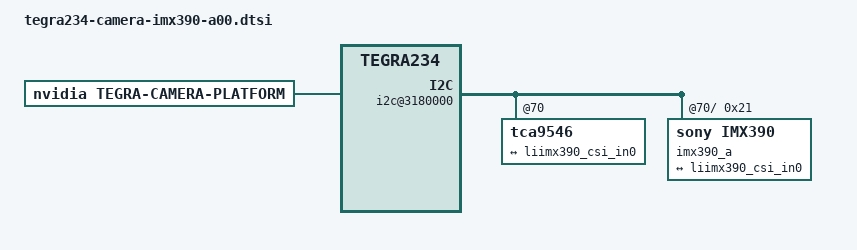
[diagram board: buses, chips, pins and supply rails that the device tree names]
// SPDX-License-Identifier: GPL-2.0-only
// SPDX-FileCopyrightText: Copyright (c) 2016-2025, NVIDIA CORPORATION & AFFILIATES. All rights reserved.

/ {
	fragment-camera@0 {
		target-path = "/";
		__overlay__ {
			tegra-capture-vi {
				num-channels = <1>;
				ports {
					#address-cells = <1>;
					#size-cells = <0>;
					port@0 {
						reg = <0>;
						liimx390_vi_in0: endpoint {
							port-index = <0>;
							bus-width = <4>;
							remote-endpoint = <&liimx390_csi_out0>;
						};
					};
				};
			};

			bus@0{
				host1x@13e00000 {
					nvcsi@15a00000 {
						num-channels = <1>;
						#address-cells = <1>;
						#size-cells = <0>;
						channel@0 {
							reg = <0>;
							ports {
								#address-cells = <1>;
								#size-cells = <0>;
								port@0 {
									reg = <0>;
									liimx390_csi_in0: endpoint@0 {
										port-index = <0>;
										bus-width = <4>;
										remote-endpoint = <&liimx390_imx390_out0>;
									};
								};
								port@1 {
									reg = <1>;
									liimx390_csi_out0: endpoint@1 {
										remote-endpoint = <&liimx390_vi_in0>;
									};
								};
							};
						};
					};
				};

				i2c@3180000 {
					tca9546@70 {
						i2c@0 {
							imx390_a@21 {
								compatible = "sony,imx390";
								reg = <0x21>;
								devnode = "video0";
								/* Physical dimensions of sensor */
								physical_w = "15.0";
								physical_h = "12.5";
								sensor_model ="imx390";
								/* Define any required hw resources needed by driver */
								/* ie. clocks, io pins, power sources */
								/* Defines number of frames to be dropped by driver internally after applying */
								/* sensor crop settings. Some sensors send corrupt frames after applying */
								/* crop co-ordinates */
								post_crop_frame_drop = "0";

								/* Convert Gain to unit of dB (decibel) befor passing to kernel driver */

								/* if true, delay gain setting by one frame to be in sync with exposure */

								/* enable CID_SENSOR_MODE_ID for sensor modes selection */
								use_sensor_mode_id = "true";

								/* WAR to prevent banding by reducing analog gain. Bug 2229902 */

								/**
								* ==== Modes ====
								* A modeX node is required to support v4l2 driver
								* implementation with NVIDIA camera software stack
								*
								* == Signal properties ==
								*
								* phy_mode = "";
								* PHY mode used by the MIPI lanes for this device
								*
								* tegra_sinterface = "";
								* CSI Serial interface connected to tegra
								* Incase of virtual HW devices, use virtual
								* For SW emulated devices, use host
								*
								* pix_clk_hz = "";
								* Sensor pixel clock used for calculations like exposure and framerate
								*
								* readout_orientation = "0";
								* Based on camera module orientation.
								* Only change readout_orientation if you specifically
								* Program a different readout order for this mode
								*
								* == Image format Properties ==
								*
								* active_w = "";
								* Pixel active region width
								*
								* active_h = "";
								* Pixel active region height
								*
								* pixel_t = "";
								* The sensor readout pixel pattern
								*
								* line_length = "";
								* Pixel line length (width) for sensor mode.
								*
								* == Source Control Settings ==
								*
								* Gain factor used to convert fixed point integer to float
								* Gain range [min_gain/gain_factor, max_gain/gain_factor]
								* Gain step [step_gain/gain_factor is the smallest step that can be configured]
								* Default gain [Default gain to be initialized for the control.
								*     use min_gain_val as default for optimal results]
								* Framerate factor used to convert fixed point integer to float
								* Framerate range [min_framerate/framerate_factor, max_framerate/framerate_factor]
								* Framerate step [step_framerate/framerate_factor is the smallest step that can be configured]
								* Default Framerate [Default framerate to be initialized for the control.
								*     use max_framerate to get required performance]
								* Exposure factor used to convert fixed point integer to float
								* For convenience use 1 sec = 1000000us as conversion factor
								* Exposure range [min_exp_time/exposure_factor, max_exp_time/exposure_factor]
								* Exposure step [step_exp_time/exposure_factor is the smallest step that can be configured]
								* Default Exposure Time [Default exposure to be initialized for the control.
								*     Set default exposure based on the default_framerate for optimal exposure settings]
								*
								* gain_factor = ""; (integer factor used for floating to fixed point conversion)
								* min_gain_val = ""; (ceil to integer)
								* max_gain_val = ""; (ceil to integer)
								* step_gain_val = ""; (ceil to integer)
								* default_gain = ""; (ceil to integer)
								* Gain limits for mode
								*
								* exposure_factor = ""; (integer factor used for floating to fixed point conversion)
								* min_exp_time = ""; (ceil to integer)
								* max_exp_time = ""; (ceil to integer)
								* step_exp_time = ""; (ceil to integer)
								* default_exp_time = ""; (ceil to integer)
								* Exposure Time limits for mode (sec)
								*
								* framerate_factor = ""; (integer factor used for floating to fixed point conversion)
								* min_framerate = ""; (ceil to integer)
								* max_framerate = ""; (ceil to integer)
								* step_framerate = ""; (ceil to integer)
								* default_framerate = ""; (ceil to integer)
								* Framerate limits for mode (fps)
								*
								* embedded_metadata_height = "";
								* Sensor embedded metadata height in units of rows.
								* If sensor does not support embedded metadata value should be 0.
								*/
								mode0 {/*mode IMX390_WDR_MODE_1936X1216_CROP_30FPS*/
									mclk_khz = "24000";
									num_lanes = "4";
									tegra_sinterface = "serial_a";
									discontinuous_clk = "no";
									dpcm_enable = "false";
									cil_settletime = "0";
									dynamic_pixel_bit_depth = "20";
									csi_pixel_bit_depth = "12";
									mode_type = "bayer_wdr_pwl";
									pixel_phase = "rggb";
									active_w = "1936";
									active_h = "1216";
									readout_orientation = "0";
									line_length = "3300"; /* HMAX */
									inherent_gain = "1";
									mclk_multiplier = "14.58";
									pix_clk_hz = "83250000"; /* 249.75Mbps/Lane * 4Lane / 12bit = 83.25[MPixel] */
									serdes_pix_clk_hz = "500000000";
									gain_factor = "10";
									min_gain_val = "1";
									max_gain_val = "420";
									step_gain_val = "3";
									default_gain = "1";
									framerate_factor = "1000000";
									min_framerate = "30000000";
									max_framerate = "30000000";
									step_framerate = "1";
									default_framerate = "30000000";
									exposure_factor = "1000000";
									min_exp_time = "134"; /* (ERRWID_BACK/2) + 2 = 5[line] */
									max_exp_time = "33227"; /* MODE_VMAX - 1 - (ERRWID_BACK/2) = 1250 - 1 - (6/2) = 1246[line] */
									step_exp_time = "1";
									default_exp_time = "11000";/* us */
									embedded_metadata_height = "0";
									min_hdr_ratio = "64.0";
									max_hdr_ratio = "64.0";
									num_control_point = "9";
									control_point_x_0 = "0";
									control_point_x_1 = "469";
									control_point_x_2 = "1582";
									control_point_x_3 = "4592";
									control_point_x_4 = "13446";
									control_point_x_5 = "39550";
									control_point_x_6 = "117664";
									control_point_x_7 = "352265";
									control_point_x_8 = "1048575";
									control_point_y_0 = "0";
									control_point_y_1 = "469";
									control_point_y_2 = "840";
									control_point_y_3 = "1270";
									control_point_y_4 = "1736";
									control_point_y_5 = "2238";
									control_point_y_6 = "2792";
									control_point_y_7 = "3411";
									control_point_y_8 = "4095";
								};

								mode1 {/*mode IMX390_SDR_MODE_1936X1216_CROP_30FPS*/
									mclk_khz = "24000";
									num_lanes = "4";
									tegra_sinterface = "serial_a";
									vc_id = "0";
									discontinuous_clk = "no";
									dpcm_enable = "false";
									cil_settletime = "0";
									dynamic_pixel_bit_depth = "12";
									csi_pixel_bit_depth = "12";
									mode_type = "bayer";
									pixel_phase = "rggb";

									active_w = "1936";
									active_h = "1216";
									readout_orientation = "0";
									line_length = "3300"; /* HMAX */
									inherent_gain = "1";
									pix_clk_hz = "83250000"; /* 249.75Mbps/Lane * 4Lane / 12bit = 83.25[MPixel] */
									serdes_pix_clk_hz = "200000000";

									gain_factor = "10";
									min_gain_val = "1";
									max_gain_val = "420";
									step_gain_val = "3";
									default_gain = "1";
									min_hdr_ratio = "1";
									max_hdr_ratio = "1";
									framerate_factor = "1000000";
									min_framerate = "30000000";
									max_framerate = "30000000";
									step_framerate = "1";
									default_framerate = "30000000";
									exposure_factor = "1000000";
									min_exp_time = "134"; /* (ERRWID_BACK/2) + 2 = 5[line] */
									max_exp_time = "33227"; /* MODE_VMAX - 1 - (ERRWID_BACK/2) = 1250 - 1 - (6/2) = 1246[line] */
									step_exp_time = "1";
									default_exp_time = "11000";/* us */
									embedded_metadata_height = "0";
								};

								ports {
									#address-cells = <1>;
									#size-cells = <0>;
									port@0 {
										reg = <0>;
										liimx390_imx390_out0: endpoint {
											port-index = <0>;
											bus-width = <4>;
											remote-endpoint = <&liimx390_csi_in0>;
										};
									};
								};
							};
						};
					};
				};
			};

			tegra-camera-platform {
				compatible = "nvidia, tegra-camera-platform";
				/**
				* The general guideline for naming badge_info contains 3 parts, and is as follows,
				* The first part is the camera_board_id for the module; if the module is in a FFD
				* platform, then use the platform name for this part.
				* The second part contains the position of the module, ex. "rear" or "front".
				* The third part contains the last 6 characters of a part number which is found
				* in the module's specsheet from the vender.
				*/
				modules {
					module0 {
						badge = "imx390_bottomleft_liimx390";
						position = "bottomleft";
						orientation = "0";
						drivernode0 {
							/* Declare PCL support driver (classically known as guid)  */
							pcl_id = "v4l2_sensor";
							/* Declare the device-tree hierarchy to driver instance */
							sysfs-device-tree = "/sys/firmware/devicetree/base/bus@0/i2c@3180000/tca9546@70/i2c@0/imx390_a@21";
						};
					};
				};
			};
		};
	};
};
